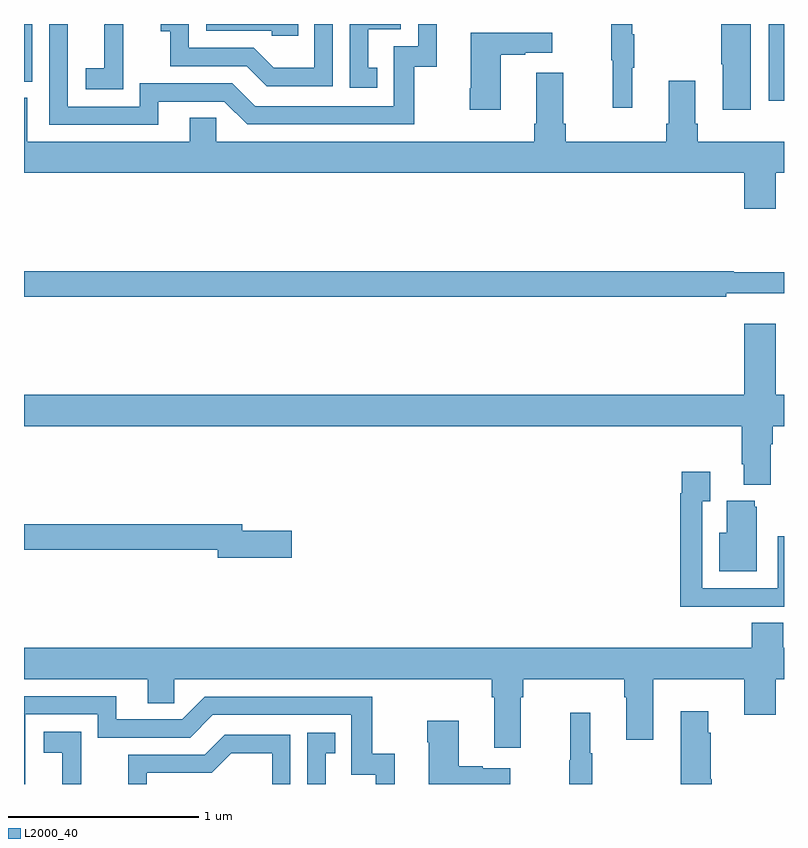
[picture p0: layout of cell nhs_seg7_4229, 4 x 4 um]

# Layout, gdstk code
import gdstk
lib = gdstk.Library(unit=1e-6, precision=1e-09)
def R(c, l, rs):  # rectangles x0, y0, x1, y1
    for r in rs: c.add(gdstk.rectangle(r[:2], r[2:], *l))
def P(c, l, *ps):  # polygons
    for p in ps: c.add(gdstk.Polygon(p, *l))
L2000_40 = (2000, 40)

nhs_seg7_4229 = lib.new_cell('nhs_seg7_4229')
R(nhs_seg7_4229, L2000_40, [(380.919,1067.597,381,1068), (377,1067.697,377.043,1068)])
P(nhs_seg7_4229, L2000_40, [(380.201,1067.771),(380.212,1067.771),(380.212,1067.945),(380.201,1067.945),(380.201,1068),(380.091,1068),(380.091,1067.808),(380.098,1067.808),(380.098,1067.559),(380.201,1067.559)],
  [(377.707,1067.592),(378.054,1067.592),(378.174,1067.472),(379.054,1067.472),(379.054,1067.775),(379.172,1067.775),(379.172,1068),(379.074,1068),(379.074,1067.883),(378.945,1067.883),(378.945,1067.568),(378.216,1067.568),(378.096,1067.688),(377.61,1067.688),(377.61,1067.565),(377.229,1067.565),(377.229,1068),(377.133,1068),(377.133,1067.469),(377.707,1067.469)],
  [(378.624,1068),(378.528,1068),(378.528,1067.77),(378.314,1067.77),(378.21,1067.874),(377.868,1067.874),(377.868,1068),(377.721,1068),(377.721,1067.963),(377.77,1067.963),(377.77,1067.778),(378.173,1067.778),(378.278,1067.673),(378.624,1067.673)],
  [(378.443,1068),(377.958,1068),(377.958,1067.964),(378.303,1067.964),(378.303,1067.937),(378.443,1067.937)],
  [(377.523,1067.863),(377.522,1067.863),(377.522,1068),(377.424,1068),(377.424,1067.996),(377.423,1067.996),(377.423,1067.767),(377.325,1067.767),(377.325,1067.657),(377.523,1067.657)],
  [(380.824,1068),(380.671,1068),(380.671,1067.788),(380.678,1067.788),(380.678,1067.55),(380.824,1067.55)],
  [(378.86,1067.769),(378.811,1067.769),(378.811,1067.973),(378.984,1067.973),(378.984,1068),(378.714,1068),(378.714,1067.664),(378.86,1067.664)],
  [(379.51,1067.839),(379.637,1067.839),(379.637,1067.849),(379.78,1067.849),(379.78,1067.953),(379.352,1067.953),(379.352,1067.662),(379.345,1067.662),(379.345,1067.55),(379.51,1067.55)],
  [(380.956,1067.216),(381,1067.216),(381,1067.38),(380.546,1067.38),(380.546,1067.476),(380.533,1067.476),(380.533,1067.701),(380.393,1067.701),(380.393,1067.476),(380.381,1067.476),(380.381,1067.38),(379.85,1067.38),(379.85,1067.476),(379.837,1067.476),(379.837,1067.743),(379.697,1067.743),(379.697,1067.476),(379.685,1067.476),(379.685,1067.38),(378.012,1067.38),(378.012,1067.507),(377.873,1067.507),(377.873,1067.38),(377.017,1067.38),(377.017,1067.612),(377,1067.612),(377,1067.216),(380.792,1067.216),(380.792,1067.028),(380.956,1067.028)],
  [(380.696,1066.583),(381,1066.583),(381,1066.693),(380.735,1066.693),(380.735,1066.7),(377,1066.7),(377,1066.564),(380.696,1066.564)],
  [(380.929,1065.788),(380.942,1065.788),(380.942,1065.884),(381,1065.884),(381,1066.048),(380.956,1066.048),(380.956,1066.423),(380.792,1066.423),(380.792,1066.048),(377,1066.048),(377,1065.884),(380.777,1065.884),(380.777,1065.682),(380.789,1065.682),(380.789,1065.575),(380.929,1065.575)],
  [(380.747,1064.934),(381,1064.934),(381,1065.304),(380.967,1065.304),(380.967,1065.03),(380.571,1065.03),(380.571,1065.487),(380.611,1065.487),(380.611,1065.643),(380.463,1065.643),(380.463,1065.53),(380.455,1065.53),(380.455,1064.933),(380.747,1064.933)],
  [(380.857,1065.459),(380.846,1065.459),(380.846,1065.49),(380.699,1065.49),(380.699,1065.322),(380.66,1065.322),(380.66,1065.119),(380.857,1065.119)],
  [(378.409,1065.332),(378.148,1065.332),(378.148,1065.368),(377,1065.368),(377,1065.232),(378.02,1065.232),(378.02,1065.19),(378.409,1065.19)],
  [(379.615,1064.456),(379.628,1064.456),(379.628,1064.552),(380.159,1064.552),(380.159,1064.456),(380.171,1064.456),(380.171,1064.232),(380.311,1064.232),(380.311,1064.552),(380.792,1064.552),(380.792,1064.364),(380.956,1064.364),(380.956,1064.552),(381,1064.552),(381,1064.716),(380.996,1064.716),(380.996,1064.849),(380.831,1064.849),(380.831,1064.716),(377,1064.716),(377,1064.552),(377.651,1064.552),(377.651,1064.425),(377.79,1064.425),(377.79,1064.552),(379.463,1064.552),(379.463,1064.456),(379.475,1064.456),(379.475,1064.19),(379.615,1064.19)],
  [(377.007,1064.367),(377.388,1064.367),(377.388,1064.244),(377.874,1064.244),(377.994,1064.364),(378.723,1064.364),(378.723,1064.049),(378.852,1064.049),(378.852,1064),(378.95,1064),(378.95,1064.158),(378.832,1064.158),(378.832,1064.46),(377.952,1064.46),(377.832,1064.34),(377.485,1064.34),(377.485,1064.463),(377,1064.463),(377,1064),(377.007,1064)],
  [(380.62,1064.025),(380.615,1064.025),(380.615,1064.27),(380.602,1064.27),(380.602,1064.383),(380.456,1064.383),(380.456,1064),(380.62,1064)],
  [(379.99,1064.161),(379.979,1064.161),(379.979,1064.374),(379.876,1064.374),(379.876,1064.124),(379.869,1064.124),(379.869,1064),(379.99,1064)],
  [(379.558,1064.083),(379.415,1064.083),(379.415,1064.093),(379.288,1064.093),(379.288,1064.332),(379.123,1064.332),(379.123,1064.219),(379.13,1064.219),(379.13,1064),(379.558,1064)],
  [(377.3,1064.069),(377.301,1064.069),(377.301,1064.275),(377.103,1064.275),(377.103,1064.165),(377.201,1064.165),(377.201,1064),(377.3,1064)],
  [(378.589,1064.163),(378.638,1064.163),(378.638,1064.269),(378.492,1064.269),(378.492,1064),(378.589,1064)],
  [(377.646,1064.058),(377.988,1064.058),(378.092,1064.162),(378.306,1064.162),(378.306,1064),(378.402,1064),(378.402,1064.259),(378.056,1064.259),(377.951,1064.154),(377.548,1064.154),(377.548,1064),(377.646,1064)])

lib.write_gds('nhs_seg7_4229.gds')
